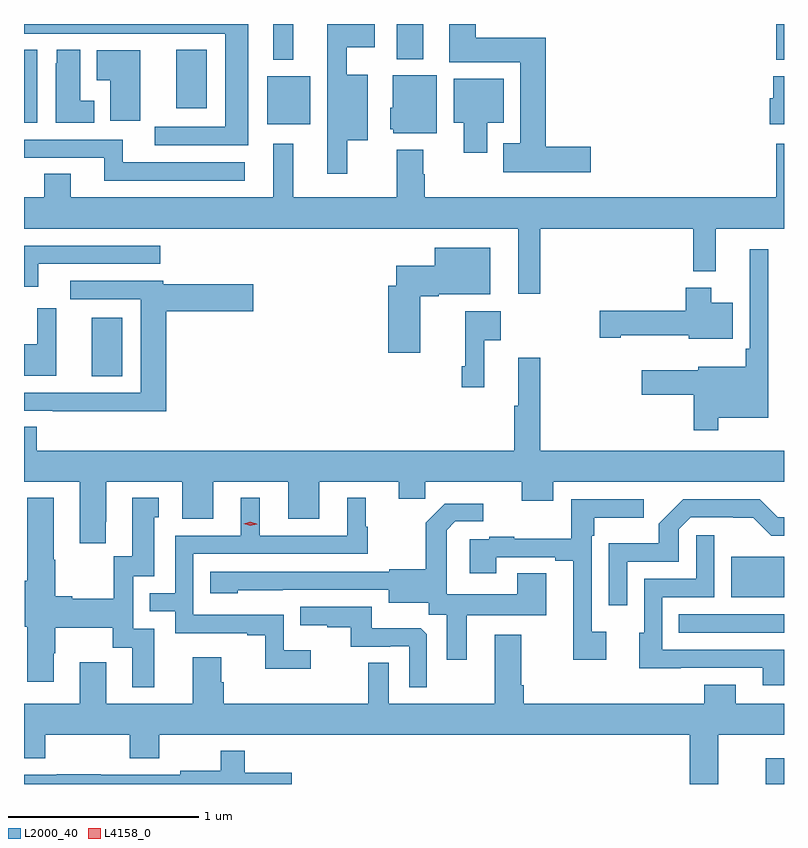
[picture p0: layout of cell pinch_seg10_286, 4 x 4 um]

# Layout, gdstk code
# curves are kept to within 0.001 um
import gdstk
lib = gdstk.Library(unit=1e-6, precision=1e-09)
def R(c, l, rs):  # rectangles x0, y0, x1, y1
    for r in rs: c.add(gdstk.rectangle(r[:2], r[2:], *l))
def P(c, l, *ps):  # polygons
    for p in ps: c.add(gdstk.Polygon(p, *l))
L2000_40 = (2000, 40)
L4158_0 = (4158, 0)

pinch_seg10_286 = lib.new_cell('pinch_seg10_286')
R(pinch_seg10_286, L2000_40, [(482.117,1293.397,482.212,1293.532), (481.657,1294.194,482.212,1294.29), (481.934,1294.379,482.212,1294.594), (478.568,1295.542,478.729,1295.851), (479.492,1296.869,479.719,1297.123), (478.212,1296.878,478.282,1297.262), (479.012,1296.954,479.173,1297.261), (479.525,1297.208,479.629,1297.397), (482.172,1297.208,482.212,1297.397), (480.173,1297.211,480.313,1297.397)])
P(pinch_seg10_286, L2000_40, [(481.195,1296.752),(480.959,1296.752),(480.959,1297.324),(480.589,1297.324),(480.589,1297.397),(480.449,1297.397),(480.449,1297.196),(480.824,1297.196),(480.824,1296.769),(480.734,1296.769),(480.734,1296.617),(481.195,1296.617)],
  [(479.392,1297.397),(478.212,1297.397),(478.212,1297.347),(479.27,1297.347),(479.27,1296.855),(478.899,1296.855),(478.899,1296.759),(479.392,1296.759)],
  [(479.914,1296.785),(480.022,1296.785),(480.022,1297.129),(479.911,1297.129),(479.911,1297.274),(480.058,1297.274),(480.058,1297.397),(479.807,1297.397),(479.807,1296.609),(479.914,1296.609)],
  [(478.582,1296.994),(478.507,1296.994),(478.507,1297.262),(478.385,1297.262),(478.385,1297.191),(478.379,1297.191),(478.379,1296.878),(478.582,1296.878)],
  [(478.825,1297.258),(478.596,1297.258),(478.596,1297.1),(478.667,1297.1),(478.667,1296.888),(478.825,1296.888)],
  [(480.385,1297.126),(480.152,1297.126),(480.152,1296.957),(480.14,1296.957),(480.14,1296.843),(480.156,1296.843),(480.156,1296.821),(480.385,1296.821)],
  [(482.212,1297.123),(482.156,1297.123),(482.156,1297.005),(482.138,1297.005),(482.138,1296.869),(482.212,1296.869)],
  [(480.649,1296.878),(480.736,1296.878),(480.736,1297.108),(480.473,1297.108),(480.473,1296.878),(480.527,1296.878),(480.527,1296.72),(480.649,1296.72)],
  [(479.374,1296.669),(478.732,1296.669),(478.732,1296.789),(478.212,1296.789),(478.212,1296.693),(478.634,1296.693),(478.634,1296.573),(479.374,1296.573)],
  [(480.929,1296.32),(481.735,1296.32),(481.735,1296.095),(481.853,1296.095),(481.853,1296.32),(482.212,1296.32),(482.212,1296.766),(482.172,1296.766),(482.172,1296.484),(480.321,1296.484),(480.321,1296.605),(480.313,1296.605),(480.313,1296.736),(480.173,1296.736),(480.173,1296.484),(479.629,1296.484),(479.629,1296.766),(479.525,1296.766),(479.525,1296.484),(478.459,1296.484),(478.459,1296.608),(478.319,1296.608),(478.319,1296.484),(478.212,1296.484),(478.212,1296.32),(480.812,1296.32),(480.812,1295.976),(480.929,1295.976)],
  [(478.288,1296.135),(478.93,1296.135),(478.93,1296.231),(478.212,1296.231),(478.212,1296.015),(478.288,1296.015)],
  [(480.298,1295.963),(480.394,1295.963),(480.394,1295.975),(480.667,1295.975),(480.667,1296.22),(480.374,1296.22),(480.374,1296.124),(480.17,1296.124),(480.17,1296.019),(480.128,1296.019),(480.128,1295.667),(480.298,1295.667)],
  [(481.867,1295.324),(482.128,1295.324),(482.128,1296.211),(482.031,1296.211),(482.031,1295.689),(482.011,1295.689),(482.011,1295.593),(481.761,1295.593),(481.761,1295.575),(481.464,1295.575),(481.464,1295.446),(481.738,1295.446),(481.738,1295.259),(481.867,1295.259)],
  [(478.961,1295.885),(479.419,1295.885),(479.419,1296.027),(478.944,1296.027),(478.944,1296.045),(478.455,1296.045),(478.455,1295.949),(478.826,1295.949),(478.826,1295.457),(478.212,1295.457),(478.212,1295.361),(478.363,1295.361),(478.363,1295.36),(478.961,1295.36)],
  [(481.942,1295.929),(481.828,1295.929),(481.828,1296.01),(481.694,1296.01),(481.694,1295.889),(481.242,1295.889),(481.242,1295.747),(481.354,1295.747),(481.354,1295.759),(481.71,1295.759),(481.71,1295.741),(481.942,1295.741)],
  [(478.382,1295.902),(478.283,1295.902),(478.283,1295.712),(478.212,1295.712),(478.212,1295.546),(478.382,1295.546)],
  [(480.635,1295.732),(480.721,1295.732),(480.721,1295.884),(480.535,1295.884),(480.535,1295.596),(480.517,1295.596),(480.517,1295.484),(480.635,1295.484)],
  [(478.28,1295.276),(478.212,1295.276),(478.212,1294.988),(478.505,1294.988),(478.505,1294.665),(478.642,1294.665),(478.642,1294.777),(478.645,1294.777),(478.645,1294.988),(479.045,1294.988),(479.045,1294.794),(479.209,1294.794),(479.209,1294.988),(479.603,1294.988),(479.603,1294.794),(479.767,1294.794),(479.767,1294.988),(480.185,1294.988),(480.185,1294.898),(480.323,1294.898),(480.323,1294.988),(480.833,1294.988),(480.833,1294.889),(480.997,1294.889),(480.997,1294.988),(482.212,1294.988),(482.212,1295.152),(480.929,1295.152),(480.929,1295.641),(480.812,1295.641),(480.812,1295.388),(480.793,1295.388),(480.793,1295.152),(478.28,1295.152)],
  [(479.722,1294.102),(479.58,1294.102),(479.58,1294.287),(479.103,1294.287),(479.103,1294.608),(480.022,1294.608),(480.022,1294.752),(480.01,1294.752),(480.01,1294.903),(479.912,1294.903),(479.912,1294.704),(479.452,1294.704),(479.452,1294.903),(479.354,1294.903),(479.354,1294.704),(479.007,1294.704),(479.007,1294.401),(478.873,1294.401),(478.873,1294.305),(479.007,1294.305),(479.007,1294.191),(479.387,1294.191),(479.387,1294.179),(479.482,1294.179),(479.482,1294.004),(479.722,1294.004)],
  [(478.897,1294.215),(478.788,1294.215),(478.788,1294.491),(478.897,1294.491),(478.897,1294.8),(478.921,1294.8),(478.921,1294.903),(478.781,1294.903),(478.781,1294.596),(478.685,1294.596),(478.685,1294.372),(478.465,1294.372),(478.465,1294.385),(478.377,1294.385),(478.377,1294.577),(478.369,1294.577),(478.369,1294.903),(478.229,1294.903),(478.229,1294.468),(478.217,1294.468),(478.217,1294.224),(478.229,1294.224),(478.229,1293.936),(478.369,1293.936),(478.369,1294.086),(478.377,1294.086),(478.377,1294.22),(478.68,1294.22),(478.68,1294.114),(478.781,1294.114),(478.781,1293.906),(478.897,1293.906)],
  [(481.276,1294.198),(481.2,1294.198),(481.2,1294.703),(481.213,1294.703),(481.213,1294.799),(481.474,1294.799),(481.474,1294.896),(481.092,1294.896),(481.092,1294.688),(480.793,1294.688),(480.793,1294.699),(480.661,1294.699),(480.661,1294.686),(480.557,1294.686),(480.557,1294.506),(480.697,1294.506),(480.697,1294.59),(481.007,1294.59),(481.007,1294.572),(481.103,1294.572),(481.103,1294.05),(481.276,1294.05)],
  [(481.386,1294.566),(481.659,1294.566),(481.659,1294.737),(481.722,1294.8),(482.051,1294.799),(482.145,1294.704),(482.212,1294.704),(482.212,1294.802),(482.18,1294.802),(482.085,1294.896),(481.682,1294.896),(481.552,1294.766),(481.552,1294.663),(481.29,1294.663),(481.29,1294.338),(481.386,1294.338)],
  [(480.541,1294.286),(480.961,1294.286),(480.961,1294.505),(480.809,1294.505),(480.809,1294.396),(480.438,1294.396),(480.438,1294.637),(480.436,1294.637),(480.436,1294.732),(480.483,1294.779),(480.628,1294.779),(480.628,1294.873),(480.427,1294.873),(480.327,1294.773),(480.327,1294.528),(480.135,1294.528),(480.135,1294.515),(479.193,1294.515),(479.193,1294.4),(479.337,1294.4),(479.337,1294.418),(480.131,1294.419),(480.131,1294.352),(480.342,1294.352),(480.342,1294.288),(480.437,1294.288),(480.437,1294.05),(480.541,1294.05)],
  [(482.212,1294.104),(481.572,1294.104),(481.572,1294.38),(481.845,1294.38),(481.845,1294.705),(481.749,1294.705),(481.749,1294.476),(481.476,1294.476),(481.476,1294.194),(481.451,1294.194),(481.451,1294.007),(481.669,1294.007),(481.669,1294.008),(482.099,1294.008),(482.099,1293.918),(482.212,1293.918)],
  [(480.333,1294.185),(480.301,1294.217),(480.043,1294.217),(480.043,1294.329),(479.665,1294.329),(479.665,1294.232),(479.809,1294.232),(479.809,1294.221),(479.933,1294.221),(479.933,1294.119),(480.14,1294.119),(480.14,1294.122),(480.24,1294.122),(480.24,1293.905),(480.333,1293.905)],
  [(481.867,1293.656),(482.212,1293.656),(482.212,1293.82),(481.957,1293.82),(481.957,1293.919),(481.793,1293.919),(481.793,1293.82),(480.842,1293.82),(480.842,1293.916),(480.829,1293.916),(480.829,1294.183),(480.689,1294.183),(480.689,1293.82),(480.132,1293.82),(480.132,1294.034),(480.024,1294.034),(480.024,1293.82),(479.264,1293.82),(479.264,1293.933),(479.251,1293.933),(479.251,1294.063),(479.099,1294.063),(479.099,1293.82),(478.645,1293.82),(478.645,1294.039),(478.505,1294.039),(478.505,1293.82),(478.212,1293.82),(478.212,1293.532),(478.323,1293.532),(478.323,1293.656),(478.768,1293.656),(478.768,1293.532),(478.923,1293.532),(478.923,1293.656),(481.715,1293.656),(481.715,1293.397),(481.867,1293.397)],
  [(479.621,1293.455),(479.375,1293.455),(479.375,1293.571),(479.247,1293.571),(479.247,1293.466),(479.034,1293.466),(479.034,1293.447),(478.617,1293.447),(478.617,1293.449),(478.385,1293.449),(478.385,1293.447),(478.212,1293.447),(478.212,1293.397),(479.621,1293.397)])
P(pinch_seg10_286, L4158_0, [(479.403,1294.756),(479.368,1294.767),(479.367,1294.767),(479.368,1294.767),(479.403,1294.776),(479.438,1294.766),(479.439,1294.765),(479.438,1294.765)])

lib.write_gds('pinch_seg10_286.gds')
